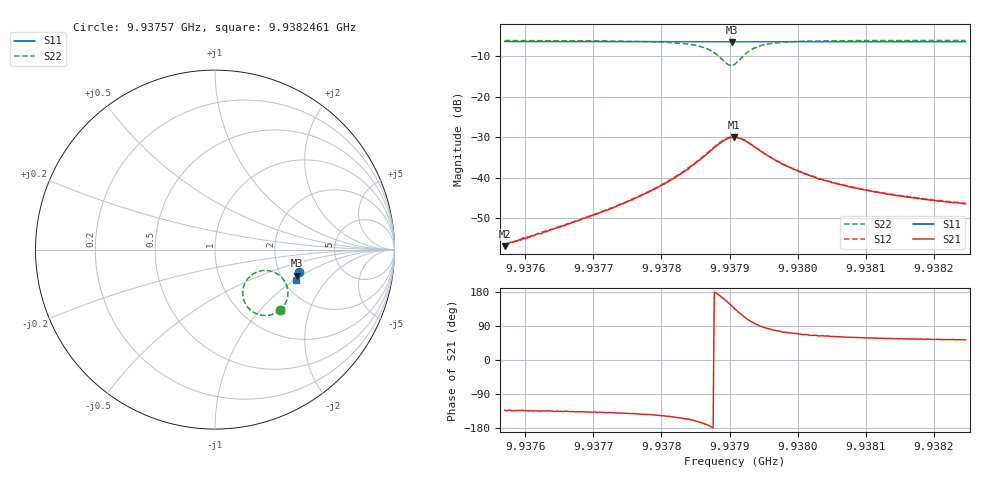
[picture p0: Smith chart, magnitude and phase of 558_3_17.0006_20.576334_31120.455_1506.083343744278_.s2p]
#  HZ  S  RI  R  50.00
! Rohde & Schwarz Vector Network Analyzer
! Rohde-Schwarz,ZNB20-2Port,1311601062101988,3.16
! Created: UTC 3/20/2024, 11:17:06 PM
! freq[Hz]  re:S11  im:S11  re:S21  im:S21  re:S12  im:S12  re:S22  im:S22
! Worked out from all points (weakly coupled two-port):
!   401 points, 9.93757 GHz to 9.9382461 GHz, reference 50 ohm
!   highest |S21| = -29.97 dB at 9.9379064 GHz (marker M1); lowest = -56.9 dB at 9.93757 GHz (marker M2)
!   lowest |S11| = -6.4 dB at 9.937903 GHz (marker M3), VSWR 2.83, Z = 121 - j45.8 ohm
!   |S11| at or under -10 dB: nowhere
!   |S22| runs from -12.2 to -6.1 dB; largest |S21 - S12| = 0.0014
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9.93756997e9  0.4658 -0.126  -0.000962 -0.00106  -0.00104 -0.00108  0.3648 -0.3356
9.93768323e9  0.463 -0.1338  -0.00225 -0.00211  -0.00231 -0.00213  0.3482 -0.3475
9.93775085e9  0.4612 -0.1384  -0.00396 -0.00321  -0.00405 -0.0032  0.3298 -0.3571
9.93779649e9  0.4598 -0.1415  -0.00646 -0.00433  -0.00663 -0.00431  0.3062 -0.3645
9.93783706e9  0.4581 -0.1444  -0.0115 -0.00511  -0.0118 -0.00507  0.2633 -0.3661
9.93786411e9  0.4566 -0.146  -0.0185 -0.00352  -0.0191 -0.00334  0.2074 -0.3444
9.93787594e9  0.4559 -0.1465  -0.0228 -0.000368  -0.0234 0.000259  0.1764 -0.3126
9.93788777e9  0.455 -0.1465  -0.0267 0.00611  -0.0273 0.00692  0.1551 -0.2545
9.93789622e9  0.4545 -0.1464  -0.0272 0.0129  -0.0276 0.0141  0.1619 -0.1991
9.93790299e9  0.4544 -0.146  -0.0252 0.0187  -0.025 0.02  0.1874 -0.1566
9.93790637e9  0.4546 -0.1461  -0.0235 0.0213  -0.0231 0.0226  0.2067 -0.1395
9.93790806e9  0.4545 -0.146  -0.022 0.0226  -0.0219 0.0236  0.2174 -0.1327
9.93791651e9  0.4551 -0.146  -0.0157 0.0261  -0.0149 0.0271  0.2747 -0.116
9.93792834e9  0.4558 -0.1465  -0.00696 0.0259  -0.00627 0.0265  0.3413 -0.1319
9.93794525e9  0.4564 -0.1477  0.000209 0.0215  0.000677 0.0217  0.3886 -0.1782
9.93796553e9  0.4563 -0.1496  0.00329 0.0166  0.00371 0.0165  0.4045 -0.223
9.93798244e9  0.456 -0.151  0.00412 0.0135  0.00452 0.0135  0.4059 -0.2481
9.93802132e9  0.4551 -0.154  0.00437 0.00937  0.00452 0.00963  0.3996 -0.2816
9.93806865e9  0.4541 -0.1572  0.00396 0.00698  0.0041 0.007  0.3907 -0.3028
9.93813458e9  0.452 -0.1618  0.00342 0.00525  0.00356 0.00524  0.3807 -0.3188
9.93818867e9  0.4507 -0.1655  0.00311 0.00438  0.00324 0.00442  0.3745 -0.3272
9.93824615e9  0.4491 -0.1692  0.00285 0.00383  0.00299 0.00386  0.3686 -0.3338
